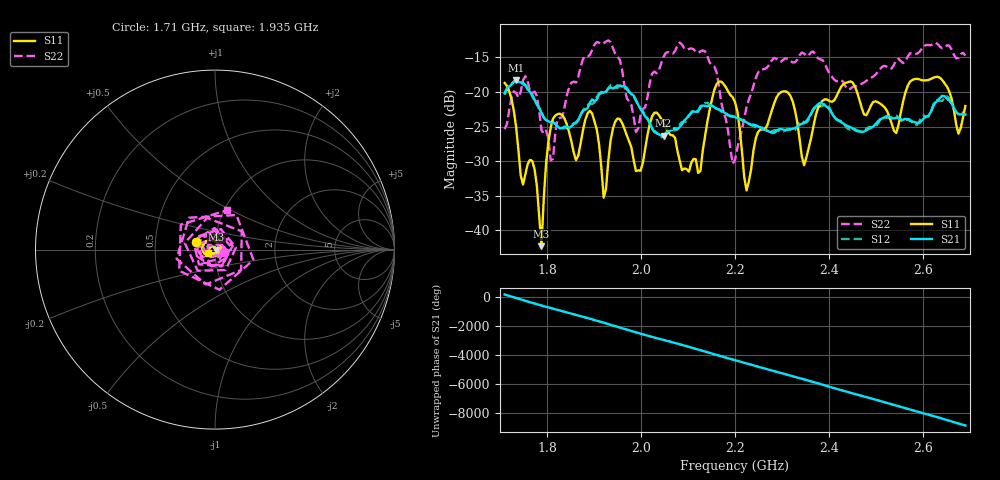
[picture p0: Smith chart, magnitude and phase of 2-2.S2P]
!Agilent Technologies,E5061B,MY49305579,A.02.22
!Date: Thu Aug 24 16:27:17 2017
!Data & Calibration Information:
!Freq	S11:SOLT2(ON)	S21:SOLT2(ON)	S12:SOLT2(ON)	S22:SOLT2(ON)
# Hz S dB R 50
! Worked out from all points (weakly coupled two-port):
!   201 points, 1.71 GHz to 2.69 GHz, reference 50 ohm
!   highest |S21| = -18.34 dB at 1.734 GHz (marker M1); lowest = -26.3 dB at 2.048 GHz (marker M2)
!   lowest |S11| = -42.3 dB at 1.788 GHz (marker M3), VSWR 1.02, Z = 50.8 + j0.0166 ohm
!   |S11| at or under -10 dB: start of sweep to end of sweep
!   |S22| runs from -30.4 to -12.6 dB; largest |S21 - S12| = 0.0075
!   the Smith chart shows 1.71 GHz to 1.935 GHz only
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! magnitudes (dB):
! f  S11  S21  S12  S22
! 1.71 GHz  -18.7  -20.2  -20.4  -25.4
! 1.734 GHz  -25.1  -18.3  -18.3  -20.1
! 1.749 GHz  -33.4  -18.6  -18.9  -18.3
! 1.774 GHz  -31.2  -21.1  -21.3  -19.9
! 1.788 GHz  -42.3  -23.0  -23.0  -25.5
! 1.813 GHz  -23.8  -24.5  -24.4  -29.7
! 1.877 GHz  -25.5  -22.6  -22.8  -15.3
! 1.896 GHz  -23.1  -21.1  -21.7  -13.9
! 1.921 GHz  -35.3  -20.1  -20.2  -13.0
! 1.95 GHz  -23.8  -19.1  -19.4  -14.9
! 1.989 GHz  -31.4  -21.2  -21.2  -25.8
! 2.038 GHz  -23.4  -26.1  -26.4  -16.9
! 2.048 GHz  -24.5  -26.3  -26.3  -14.9
! 2.087 GHz  -31.3  -24.6  -24.3  -13.2
! 2.136 GHz  -26.3  -22.0  -21.6  -14.1
! 2.2 GHz  -21.5  -23.6  -23.6  -29.8
! 2.224 GHz  -34.2  -24.4  -24.3  -22.2
! 2.293 GHz  -20.3  -25.4  -25.6  -15.6
! 2.347 GHz  -30.6  -24.5  -24.4  -14.5
! 2.367 GHz  -25.0  -22.6  -22.4  -14.2
! 2.528 GHz  -23.6  -23.6  -23.8  -16.6
! 2.69 GHz  -22.0  -23.2  -23.4  -14.8
